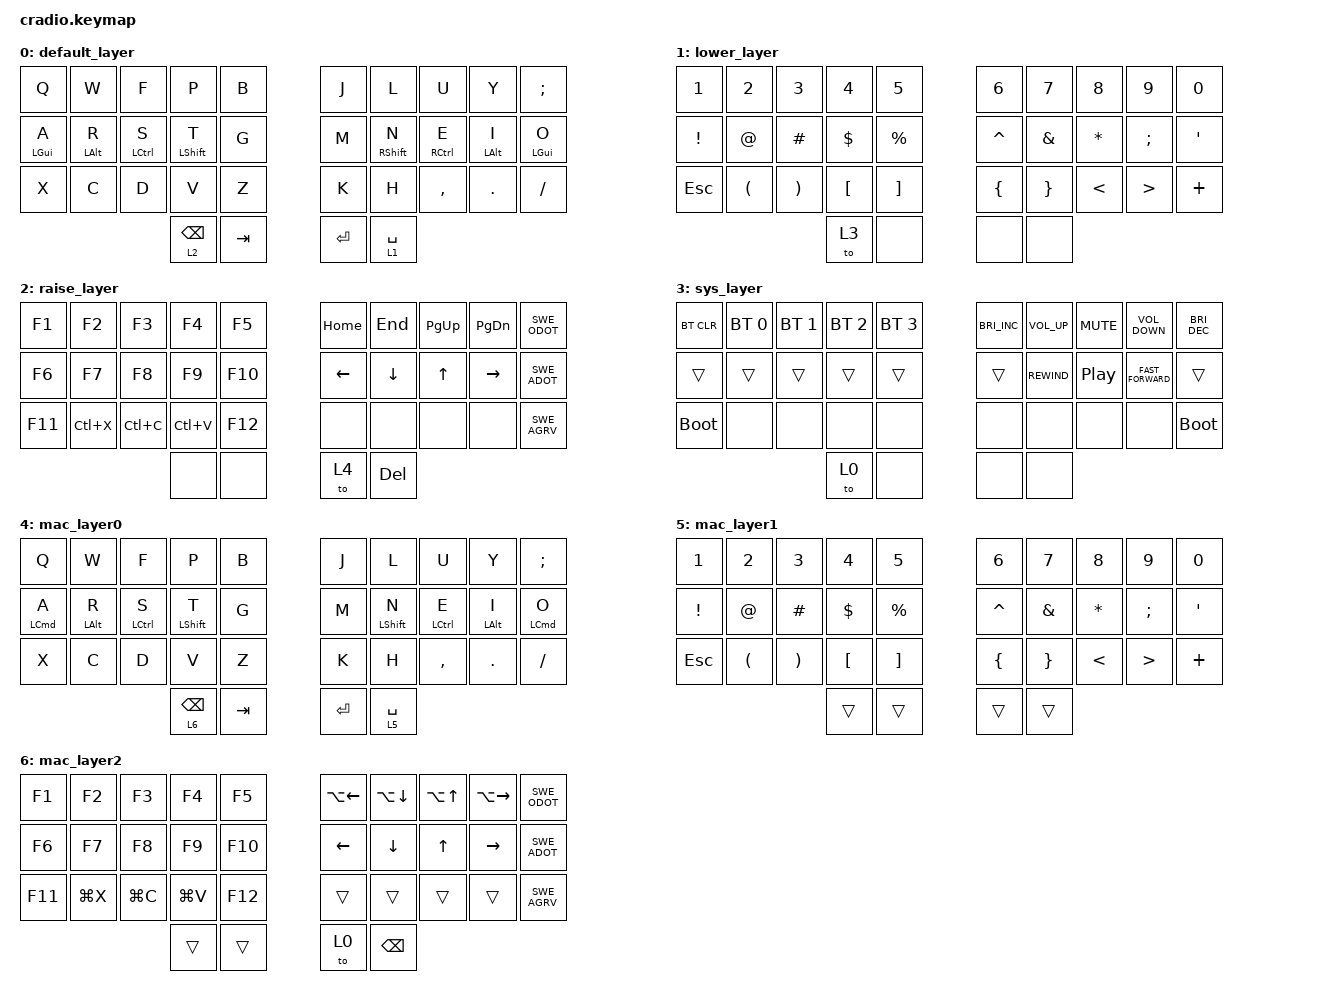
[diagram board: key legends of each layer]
/*
 * Copyright (c) 2020 The ZMK Contributors
 *
 * SPDX-License-Identifier: MIT
 */

#include "keymap_swedish.h"
#include <behaviors.dtsi>
#include <dt-bindings/zmk/bt.h>
#include <dt-bindings/zmk/keys.h>

// Layer definitions

#define BASE 0
#define SYM 1
#define EXT 2
#define FNC 3

// -----------------

&mt {
    //  flavor = "tap-preferred";
    // tapping_term_ms = <200>;
};

&sk { ignore-modifiers; };

/ {
    macros {
        // sometimes my device thinks a modifier is being held down
        // pressing all modifiers fixes it.

        unstick: unstick {
            label = "ZM_unstick";
            compatible = "zmk,behavior-macro";
            #binding-cells = <0>;
            bindings = <&kp LSHIFT &kp RSHIFT &kp LCTRL &kp RCTRL &kp LALT &kp RALT &kp LGUI &kp RGUI>;
        };
    };

    combos {
        compatible = "zmk,combos";

        // both right thumb keys
        // internal-left & external-right thumb keys
        // both left thumb keys

        left_1 {
            bindings = <&kp LEFT_BRACKET>;
            key-positions = <2 3>;
            timeout-ms = <30>;
        };

        right_1 {
            bindings = <&kp RBKT>;
            key-positions = <6 7>;
            timeout-ms = <30>;
        };

        left_2 {
            bindings = <&kp LEFT_PARENTHESIS>;
            key-positions = <12 13>;
            timeout-ms = <30>;
        };

        right_2 {
            bindings = <&kp RIGHT_PARENTHESIS>;
            key-positions = <16 17>;
            timeout-ms = <30>;
        };

        left_3 {
            bindings = <&kp LEFT_BRACE>;
            key-positions = <22 23>;
            timeout-ms = <30>;
        };

        right_3 {
            bindings = <&kp RIGHT_BRACE>;
            key-positions = <26 27>;
            timeout-ms = <30>;
        };

        combo_minus {
            bindings = <&kp MINUS>;
            key-positions = <15 17>;
            timeout-ms = <30>;
        };

        combo_lessthan {
            bindings = <&kp LESS_THAN>;
            key-positions = <25 27>;
            timeout-ms = <30>;
        };

        combo_greater {
            bindings = <&kp GREATER_THAN>;
            key-positions = <25 28>;
            timeout-ms = <30>;
        };

        combo_pipe {
            bindings = <&kp PIPE>;
            key-positions = <14 15>;
            timeout-ms = <30>;
        };

        combo_backsplash {
            bindings = <&kp BACKSLASH>;
            key-positions = <4 5>;
            timeout-ms = <30>;
        };

        combo_under {
            bindings = <&kp UNDER>;
            key-positions = <15 18>;
            timeout-ms = <30>;
        };

        combo_plus {
            bindings = <&kp PLUS>;
            key-positions = <10 12 11>;
            timeout-ms = <30>;
        };

        combo_tilde {
            bindings = <&kp TILDE>;
            key-positions = <5 6>;
        };

        combo_grave {
            bindings = <&kp GRAVE>;
            key-positions = <3 4>;
        };

        combo_semi {
            bindings = <&kp SEMI>;
            key-positions = <16 17 18>;
        };

        combo_colon {
            bindings = <&kp COLON>;
            key-positions = <7 8 6>;
        };

        combo_sqt {
            bindings = <&kp SQT>;
            key-positions = <17 18>;
        };

        combo_dqt {
            bindings = <&kp DQT>;
            key-positions = <17 18 26>;
        };

        combo_caps {
            bindings = <&kp CAPSLOCK>;
            key-positions = <11 18>;
        };

        combo_equal {
            bindings = <&kp EQUAL>;
            key-positions = <7 5>;
            timeout-ms = <30>;
        };

        Alt+Tab {
            bindings = <&kp LA(TAB)>;
            key-positions = <11 12 13>;
        };
    };

    behaviors {
        ht: ht {
            compatible = "zmk,behavior-hold-tap";
            label = "HT";
            bindings = <&kp>, <&kp>;

            #binding-cells = <2>;
            tapping-term-ms = <200>;
            quick-tap-ms = <100>;
            global-quick-tap;
            flavor = "tap-preferred";
        };

        td_0: td_0 {
            compatible = "zmk,behavior-tap-dance";
            label = "TD_0";
            #binding-cells = <0>;
            bindings = <&mo 1>, <&kp LCTRL>, <&mo 3>;
        };
    };

    keymap {
        compatible = "zmk,keymap";

        // Base alpha layer

        default_layer {
            bindings = <
&kp Q           &kp W           &kp F        &kp P             &kp B      &kp J      &kp L              &kp U                &kp Y           &kp SEMICOLON
&ht LEFT_GUI A  &ht LEFT_ALT R  &ht LCTRL S  &ht LEFT_SHIFT T  &kp G      &kp M      &ht RIGHT_SHIFT N  &ht RIGHT_CONTROL E  &ht LEFT_ALT I  &ht LEFT_GUI O
&kp X           &kp C           &kp D        &kp V             &kp Z      &kp K      &kp H              &kp COMMA            &kp PERIOD      &kp SLASH
                                             &lt 2 BACKSPACE   &kp TAB    &kp ENTER  &lt 1 SPACE
            >;
        };

        lower_layer {
            bindings = <
&kp N1           &kp N2                &kp N3                 &kp N4            &kp N5               &kp N6          &kp N7           &kp N8         &kp N9            &kp N0
&kp EXCLAMATION  &kp AT_SIGN           &kp POUND              &kp DOLLAR        &kp PERCENT          &kp CARET       &kp AMPERSAND    &kp ASTERISK   &kp SEMICOLON     &kp APOS
&kp ESCAPE       &kp LEFT_PARENTHESIS  &kp RIGHT_PARENTHESIS  &kp LEFT_BRACKET  &kp RIGHT_BRACKET    &kp LEFT_BRACE  &kp RIGHT_BRACE  &kp LESS_THAN  &kp GREATER_THAN  &kp PLUS
                                                              &to 3             &none                &none           &none
            >;
        };

        raise_layer {
            bindings = <
&kp F1   &kp F2     &kp F3     &kp F4     &kp F5     &kp HOME  &kp END   &kp PAGE_UP   &kp PAGE_DOWN  &kp SWE_ODOT
&kp F6   &kp F7     &kp F8     &kp F9     &kp F10    &kp LEFT  &kp DOWN  &kp UP_ARROW  &kp RIGHT      &kp SWE_ADOT
&kp F11  &kp LC(X)  &kp LC(C)  &kp LC(V)  &kp F12    &none     &none     &none         &none          &kp SWE_AGRV
                               &none      &none      &to 4     &kp DEL
            >;
        };

        sys_layer {
            bindings = <
&bt BT_CLR   &bt BT_SEL 0  &bt BT_SEL 1  &bt BT_SEL 2  &bt BT_SEL 3    &kp C_BRIGHTNESS_INC  &kp C_VOLUME_UP  &kp C_MUTE        &kp K_VOLUME_DOWN   &kp C_BRIGHTNESS_DEC
&trans       &trans        &trans        &trans        &trans          &trans                &kp C_REWIND     &kp C_PLAY_PAUSE  &kp C_FAST_FORWARD  &trans
&bootloader  &none         &none         &none         &none           &none                 &none            &none             &none               &bootloader
                                         &to 0         &none           &none                 &none
            >;
        };

        mac_layer0 {
            bindings = <
&kp Q       &kp W           &kp F        &kp P             &kp B      &kp J      &kp L             &kp U        &kp Y           &kp SEMI
&ht LCMD A  &ht LEFT_ALT R  &ht LCTRL S  &ht LEFT_SHIFT T  &kp G      &kp M      &ht LEFT_SHIFT N  &ht LCTRL E  &ht LEFT_ALT I  &ht LEFT_COMMAND O
&kp X       &kp C           &kp D        &kp V             &kp Z      &kp K      &kp H             &kp COMMA    &kp DOT         &kp FSLH
                                         &lt 6 BACKSPACE   &kp TAB    &kp ENTER  &lt 5 SPACE
            >;
        };

        mac_layer1 {
            bindings = <
&kp N1      &kp N2                &kp N3                 &kp N4            &kp N5               &kp N6          &kp N7           &kp N8         &kp N9            &kp N0
&kp EXCL    &kp AT                &kp HASH               &kp DOLLAR        &kp PERCENT          &kp CARET       &kp AMPERSAND    &kp ASTERISK   &kp SEMICOLON     &kp SINGLE_QUOTE
&kp ESCAPE  &kp LEFT_PARENTHESIS  &kp RIGHT_PARENTHESIS  &kp LEFT_BRACKET  &kp RIGHT_BRACKET    &kp LEFT_BRACE  &kp RIGHT_BRACE  &kp LESS_THAN  &kp GREATER_THAN  &kp PLUS
                                                         &trans            &trans               &trans          &trans
            >;
        };

        mac_layer2 {
            bindings = <
&kp F1   &kp F2     &kp F3     &kp F4     &kp F5     &kp LA(LEFT)  &kp LA(DOWN)   &kp LA(UP_ARROW)  &kp LA(RIGHT)  &kp SWE_ODOT
&kp F6   &kp F7     &kp F8     &kp F9     &kp F10    &kp LEFT      &kp DOWN       &kp UP_ARROW      &kp RIGHT      &kp SWE_ADOT
&kp F11  &kp LG(X)  &kp LG(C)  &kp LG(V)  &kp F12    &trans        &trans         &trans            &trans         &kp SWE_AGRV
                               &trans     &trans     &to 0         &kp BACKSPACE
            >;
        };
    };
};
